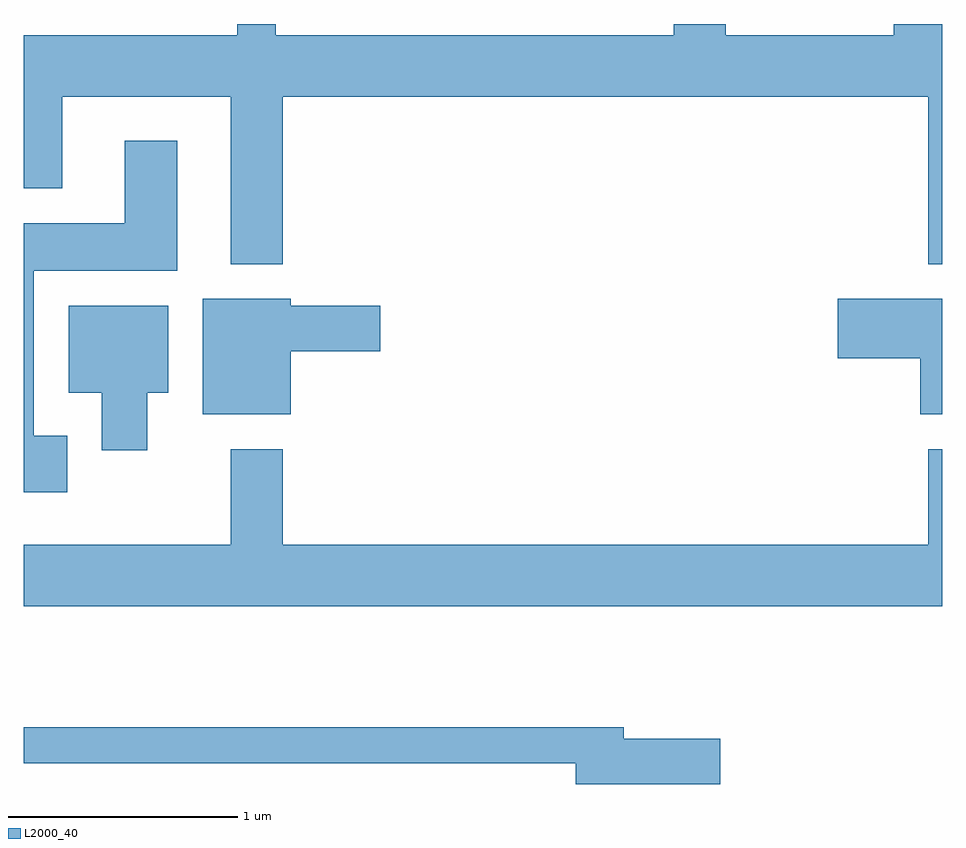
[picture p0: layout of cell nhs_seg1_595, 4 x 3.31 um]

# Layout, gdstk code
import gdstk
lib = gdstk.Library(unit=1e-6, precision=1e-09)
def P(c, l, *ps):  # polygons
    for p in ps: c.add(gdstk.Polygon(p, *l))
L2000_40 = (2000, 40)

nhs_seg1_595 = lib.new_cell('nhs_seg1_595')
P(nhs_seg1_595, L2000_40, [(204.739,857.396),(207.551,857.396),(207.551,856.666),(207.611,856.666),(207.611,857.712),(207.401,857.712),(207.401,857.664),(206.669,857.664),(206.669,857.712),(206.441,857.712),(206.441,857.664),(204.709,857.664),(204.709,857.712),(204.541,857.712),(204.541,857.664),(203.611,857.664),(203.611,856.996),(203.779,856.996),(203.779,857.396),(204.511,857.396),(204.511,856.666),(204.739,856.666)],
  [(203.799,855.919),(203.654,855.919),(203.654,856.636),(204.279,856.636),(204.279,857.204),(204.051,857.204),(204.051,856.844),(203.611,856.844),(203.611,855.671),(203.799,855.671)],
  [(207.611,856.514),(207.156,856.514),(207.156,856.256),(207.516,856.256),(207.516,856.011),(207.611,856.011)],
  [(204.774,856.286),(205.164,856.286),(205.164,856.484),(204.774,856.484),(204.774,856.514),(204.391,856.514),(204.391,856.011),(204.774,856.011)],
  [(204.149,856.106),(204.239,856.106),(204.239,856.484),(203.806,856.484),(203.806,856.106),(203.951,856.106),(203.951,855.856),(204.149,855.856)],
  [(207.611,855.859),(207.551,855.859),(207.551,855.444),(204.739,855.444),(204.739,855.859),(204.511,855.859),(204.511,855.444),(203.611,855.444),(203.611,855.176),(207.611,855.176)],
  [(206.644,854.599),(206.224,854.599),(206.224,854.649),(203.611,854.649),(203.611,854.491),(206.016,854.491),(206.016,854.401),(206.644,854.401)])

lib.write_gds('nhs_seg1_595.gds')
